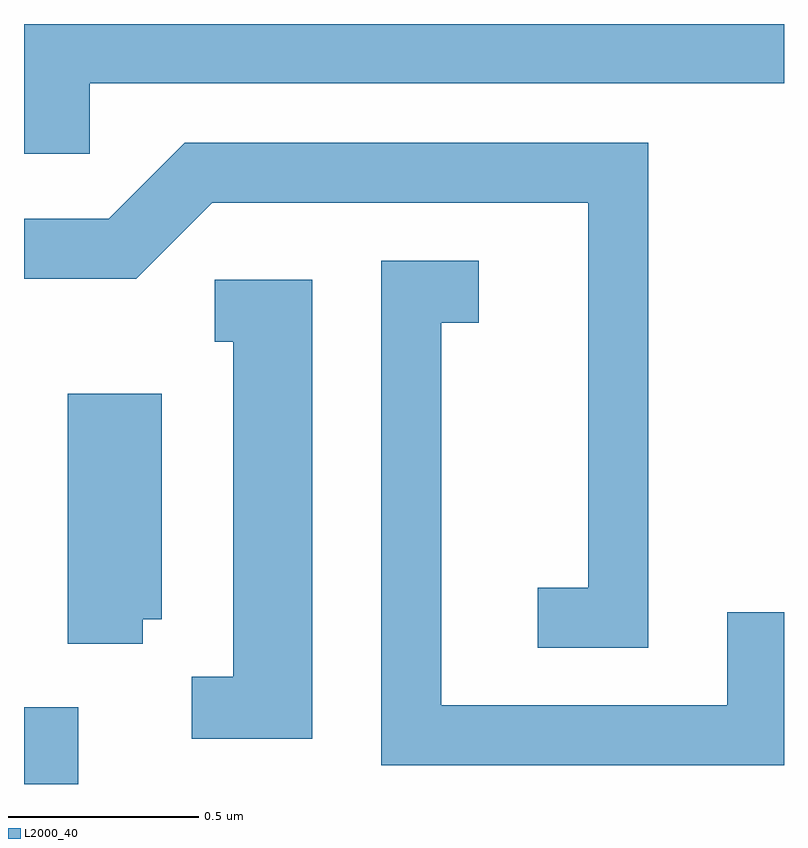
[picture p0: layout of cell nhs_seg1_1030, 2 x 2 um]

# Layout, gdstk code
import gdstk
lib = gdstk.Library(unit=1e-6, precision=1e-09)
def R(c, l, rs):  # rectangles x0, y0, x1, y1
    for r in rs: c.add(gdstk.rectangle(r[:2], r[2:], *l))
def P(c, l, *ps):  # polygons
    for p in ps: c.add(gdstk.Polygon(p, *l))
L2000_40 = (2000, 40)

nhs_seg1_1030 = lib.new_cell('nhs_seg1_1030')
R(nhs_seg1_1030, L2000_40, [(192.611,917.712,192.754,917.914)])
P(nhs_seg1_1030, L2000_40, [(192.784,919.556),(194.611,919.556),(194.611,919.712),(192.611,919.712),(192.611,919.371),(192.784,919.371)],
  [(194.254,919.399),(193.034,919.399),(192.834,919.199),(192.611,919.199),(192.611,919.041),(192.907,919.041),(193.107,919.241),(194.096,919.241),(194.096,918.229),(193.963,918.229),(193.963,918.071),(194.254,918.071)],
  [(194.611,918.164),(194.461,918.164),(194.461,917.919),(193.709,917.919),(193.709,918.926),(193.808,918.926),(193.808,919.089),(193.551,919.089),(193.551,917.761),(194.611,917.761)],
  [(193.369,919.039),(193.113,919.039),(193.113,918.876),(193.161,918.876),(193.161,917.994),(193.053,917.994),(193.053,917.831),(193.369,917.831)],
  [(192.924,918.146),(192.974,918.146),(192.974,918.739),(192.726,918.739),(192.726,918.081),(192.924,918.081)])

lib.write_gds('nhs_seg1_1030.gds')
